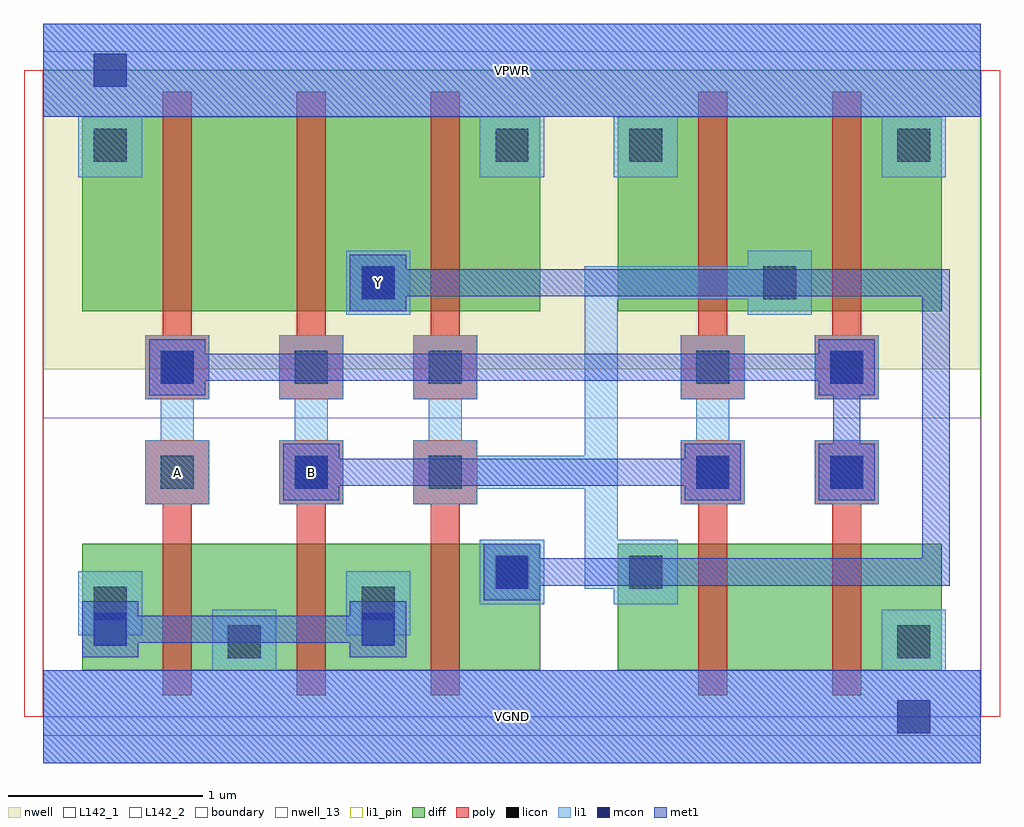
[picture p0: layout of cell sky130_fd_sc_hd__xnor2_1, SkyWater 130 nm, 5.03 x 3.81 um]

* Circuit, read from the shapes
.subckt sky130_fd_sc_hd__xnor2_1 A B VGND VPWR Y
XM1 VGND A n1 VSUBS sky130_fd_pr__nfet_01v8 w=0.65 l=0.15
XM2 n1 B VGND VSUBS sky130_fd_pr__nfet_01v8 w=0.65 l=0.15
XM3 Y n2 n1 VSUBS sky130_fd_pr__nfet_01v8 w=0.65 l=0.15
XM4 n3 B n2 VSUBS sky130_fd_pr__nfet_01v8 w=0.65 l=0.15
XM5 VGND A n3 VSUBS sky130_fd_pr__nfet_01v8 w=0.65 l=0.15
XM6 n4 A VPWR n5 sky130_fd_pr__pfet_01v8 w=1 l=0.15
XM7 Y B n4 n5 sky130_fd_pr__pfet_01v8 w=1 l=0.15
XM8 VPWR n2 Y n5 sky130_fd_pr__pfet_01v8 w=1 l=0.15
XM9 n2 B VPWR n5 sky130_fd_pr__pfet_01v8 w=1 l=0.15
XM10 VPWR A n2 n5 sky130_fd_pr__pfet_01v8 w=1 l=0.15
.ends

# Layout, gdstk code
import gdstk
lib = gdstk.Library(unit=1e-6, precision=1e-09)
def R(c, l, rs):  # rectangles x0, y0, x1, y1
    for r in rs: c.add(gdstk.rectangle(r[:2], r[2:], *l))
def A(c, l, x, y, w, h, nx, ny, dx, dy):  # array of equal rectangles
    R(c, l, [(x+i*dx, y+j*dy, x+i*dx+w, y+j*dy+h) for i in range(nx) for j in range(ny)])
def P(c, l, *ps):  # polygons
    for p in ps: c.add(gdstk.Polygon(p, *l))
nwell_13 = (64, 13)
nwell = (64, 20)
diff = (65, 20)
poly = (66, 20)
licon = (66, 44)
li1_pin = (67, 16)
li1 = (67, 20)
mcon = (67, 44)
met1 = (68, 20)
L142_1 = (142, 1)
L142_2 = (142, 2)
boundary = (235, 4)

sky130_fd_sc_hd__xnor2_1 = lib.new_cell('sky130_fd_sc_hd__xnor2_1')
R(sky130_fd_sc_hd__xnor2_1, nwell_13, [(0,0,4.83,1.54)])
R(sky130_fd_sc_hd__xnor2_1, nwell, [(0,1.79,4.83,3.33)])
R(sky130_fd_sc_hd__xnor2_1, diff, [(0.2,0.24,2.56,0.89), (0.2,0.24,0.615,0.89), (0.615,0.24,1.305,0.89), (1.305,0.24,1.995,0.89), (1.995,0.24,2.56,0.89), (2.96,0.24,4.63,0.89), (2.96,0.24,3.375,0.89), (3.375,0.24,4.065,0.89), (4.065,0.24,4.63,0.89), (0.2,2.09,2.56,3.09), (0.2,2.09,0.615,3.09), (0.615,2.09,1.305,3.09), (1.305,2.09,1.995,3.09), (1.995,2.09,2.56,3.09), (2.96,2.09,4.63,3.09), (2.96,2.09,3.375,3.09), (3.375,2.09,4.065,3.09), (4.065,2.09,4.63,3.09)])
P(sky130_fd_sc_hd__xnor2_1, poly, [(1.305,0.11),(1.305,1.095),(1.215,1.095),(1.215,1.425),(1.545,1.425),(1.545,1.095),(1.455,1.095),(1.455,0.11)],
  [(3.375,0.11),(3.375,1.095),(3.285,1.095),(3.285,1.425),(3.615,1.425),(3.615,1.095),(3.525,1.095),(3.525,0.11)],
  [(1.215,1.635),(1.215,1.965),(1.305,1.965),(1.305,3.22),(1.455,3.22),(1.455,1.965),(1.545,1.965),(1.545,1.635)],
  [(3.285,1.635),(3.285,1.965),(3.375,1.965),(3.375,3.22),(3.525,3.22),(3.525,1.965),(3.615,1.965),(3.615,1.635)],
  [(0.615,0.11),(0.615,1.095),(0.525,1.095),(0.525,1.425),(0.855,1.425),(0.855,1.095),(0.765,1.095),(0.765,0.11)],
  [(4.065,0.11),(4.065,1.095),(3.975,1.095),(3.975,1.425),(4.305,1.425),(4.305,1.095),(4.215,1.095),(4.215,0.11)],
  [(0.525,1.635),(0.525,1.965),(0.615,1.965),(0.615,3.22),(0.765,3.22),(0.765,1.965),(0.855,1.965),(0.855,1.635)],
  [(3.975,1.635),(3.975,1.965),(4.065,1.965),(4.065,3.22),(4.215,3.22),(4.215,1.965),(4.305,1.965),(4.305,1.635)],
  [(1.995,0.11),(1.995,1.095),(1.905,1.095),(1.905,1.425),(2.235,1.425),(2.235,1.095),(2.145,1.095),(2.145,0.11)],
  [(1.905,1.635),(1.905,1.965),(1.995,1.965),(1.995,3.22),(2.145,3.22),(2.145,1.965),(2.235,1.965),(2.235,1.635)])
A(sky130_fd_sc_hd__xnor2_1, licon, 0.605, 1.175, 0.17, 0.17, 3, 2, 0.69, 0.54)
R(sky130_fd_sc_hd__xnor2_1, licon, [(0.95,0.3,1.12,0.47), (4.4,0.3,4.57,0.47), (0.26,0.5,0.43,0.67), (1.64,0.5,1.81,0.67), (2.33,0.66,2.5,0.83), (3.02,0.66,3.19,0.83), (3.365,1.175,3.535,1.345), (4.055,1.175,4.225,1.345), (3.365,1.715,3.535,1.885), (4.055,1.715,4.225,1.885), (1.64,2.15,1.81,2.32), (3.71,2.15,3.88,2.32), (0.26,2.86,0.43,3.03), (2.33,2.86,2.5,3.03), (3.02,2.86,3.19,3.03), (4.4,2.86,4.57,3.03)])
R(sky130_fd_sc_hd__xnor2_1, li1_pin, [(0,-0.24,4.83,0.24), (1.56,2.07,1.89,2.4), (0,3.09,4.83,3.57)])
P(sky130_fd_sc_hd__xnor2_1, li1_pin, [(0.525,1.095),(0.525,1.425),(0.605,1.425),(0.605,1.635),(0.525,1.635),(0.525,1.965),(0.855,1.965),(0.855,1.635),(0.775,1.635),(0.775,1.425),(0.855,1.425),(0.855,1.095)],
  [(1.215,1.095),(1.215,1.425),(1.295,1.425),(1.295,1.635),(1.215,1.635),(1.215,1.965),(1.545,1.965),(1.545,1.635),(1.465,1.635),(1.465,1.425),(1.545,1.425),(1.545,1.095)])
R(sky130_fd_sc_hd__xnor2_1, li1, [(2.25,0.58,2.58,0.91), (3.975,1.095,4.305,1.425), (3.975,1.635,4.305,1.965), (1.56,2.07,1.89,2.4)])
P(sky130_fd_sc_hd__xnor2_1, li1, [(1.215,1.095),(1.215,1.425),(1.295,1.425),(1.295,1.635),(1.215,1.635),(1.215,1.965),(1.545,1.965),(1.545,1.635),(1.465,1.635),(1.465,1.425),(1.545,1.425),(1.545,1.095)],
  [(3.285,1.095),(3.285,1.425),(3.365,1.425),(3.365,1.635),(3.285,1.635),(3.285,1.965),(3.615,1.965),(3.615,1.635),(3.535,1.635),(3.535,1.425),(3.615,1.425),(3.615,1.095)],
  [(0.18,2.78),(0.18,3.09),(0,3.09),(0,3.57),(4.83,3.57),(4.83,3.09),(4.65,3.09),(4.65,2.78),(4.32,2.78),(4.32,3.09),(3.27,3.09),(3.27,2.78),(2.94,2.78),(2.94,3.09),(2.58,3.09),(2.58,2.78),(2.25,2.78),(2.25,3.09),(0.51,3.09),(0.51,2.78)],
  [(0,-0.24),(0,0.24),(0.87,0.24),(0.87,0.55),(1.2,0.55),(1.2,0.24),(4.32,0.24),(4.32,0.55),(4.65,0.55),(4.65,0.24),(4.83,0.24),(4.83,-0.24)],
  [(0.525,1.095),(0.525,1.425),(0.605,1.425),(0.605,1.635),(0.525,1.635),(0.525,1.965),(0.855,1.965),(0.855,1.635),(0.775,1.635),(0.775,1.425),(0.855,1.425),(0.855,1.095)],
  [(0.26,0.365),(0.26,0.42),(0.18,0.42),(0.18,0.75),(0.51,0.75),(0.51,0.42),(0.43,0.42),(0.43,0.365)],
  [(1.64,0.365),(1.64,0.42),(1.56,0.42),(1.56,0.75),(1.89,0.75),(1.89,0.42),(1.81,0.42),(1.81,0.365)],
  [(2.94,0.58),(2.94,0.66),(2.79,0.66),(2.79,1.175),(2.235,1.175),(2.235,1.095),(1.905,1.095),(1.905,1.425),(1.985,1.425),(1.985,1.635),(1.905,1.635),(1.905,1.965),(2.235,1.965),(2.235,1.635),(2.155,1.635),(2.155,1.425),(2.235,1.425),(2.235,1.345),(2.79,1.345),(2.79,2.32),(3.63,2.32),(3.63,2.4),(3.96,2.4),(3.96,2.07),(3.63,2.07),(3.63,2.15),(2.96,2.15),(2.96,0.91),(3.27,0.91),(3.27,0.58)])
R(sky130_fd_sc_hd__xnor2_1, mcon, [(4.4,-0.085,4.57,0.085), (0.26,0.365,0.43,0.535), (1.64,0.365,1.81,0.535), (2.33,0.66,2.5,0.83), (1.295,1.175,1.465,1.345), (3.365,1.175,3.535,1.345), (4.055,1.175,4.225,1.345), (0.605,1.715,0.775,1.885), (4.055,1.715,4.225,1.885), (1.64,2.15,1.81,2.32), (0.26,3.245,0.43,3.415)])
R(sky130_fd_sc_hd__xnor2_1, met1, [(0,-0.24,4.83,0.24), (0,3.09,4.83,3.57)])
P(sky130_fd_sc_hd__xnor2_1, met1, [(1.235,1.115),(1.235,1.405),(1.525,1.405),(1.525,1.33),(3.305,1.33),(3.305,1.405),(3.595,1.405),(3.595,1.115),(3.305,1.115),(3.305,1.19),(1.525,1.19),(1.525,1.115)],
  [(2.27,0.6),(2.27,0.89),(2.56,0.89),(2.56,0.815),(4.53,0.815),(4.53,2.165),(1.87,2.165),(1.87,2.09),(1.58,2.09),(1.58,2.38),(1.87,2.38),(1.87,2.305),(4.67,2.305),(4.67,0.675),(2.56,0.675),(2.56,0.6)],
  [(3.995,1.115),(3.995,1.405),(4.07,1.405),(4.07,1.655),(3.995,1.655),(3.995,1.73),(0.835,1.73),(0.835,1.655),(0.545,1.655),(0.545,1.945),(0.835,1.945),(0.835,1.87),(3.995,1.87),(3.995,1.945),(4.285,1.945),(4.285,1.655),(4.21,1.655),(4.21,1.405),(4.285,1.405),(4.285,1.115)],
  [(0.2,0.305),(0.2,0.595),(0.49,0.595),(0.49,0.52),(1.58,0.52),(1.58,0.595),(1.87,0.595),(1.87,0.305),(1.58,0.305),(1.58,0.38),(0.49,0.38),(0.49,0.305)])
R(sky130_fd_sc_hd__xnor2_1, L142_1, [(0,-0.1,4.83,0), (0,3.33,4.83,3.43)])
R(sky130_fd_sc_hd__xnor2_1, L142_2, [(-0.1,0,0,3.33), (4.83,0,4.93,3.33)])
R(sky130_fd_sc_hd__xnor2_1, boundary, [(0,0,4.83,3.33)])
sky130_fd_sc_hd__xnor2_1.add(gdstk.Label('Y', (1.725,2.235), layer=67, texttype=5))
sky130_fd_sc_hd__xnor2_1.add(gdstk.Label('A', (0.69,1.26), layer=67, texttype=5))
sky130_fd_sc_hd__xnor2_1.add(gdstk.Label('B', (1.38,1.26), layer=67, texttype=5))
sky130_fd_sc_hd__xnor2_1.add(gdstk.Label('VGND', (2.415,0), layer=67, texttype=5))
sky130_fd_sc_hd__xnor2_1.add(gdstk.Label('VPWR', (2.415,3.33), layer=67, texttype=5))
sky130_fd_sc_hd__xnor2_1.add(gdstk.Label('VGND', (2.415,0), layer=68, texttype=5))
sky130_fd_sc_hd__xnor2_1.add(gdstk.Label('VPWR', (2.415,3.33), layer=68, texttype=5))

lib.write_gds('sky130_fd_sc_hd__xnor2_1.gds')
